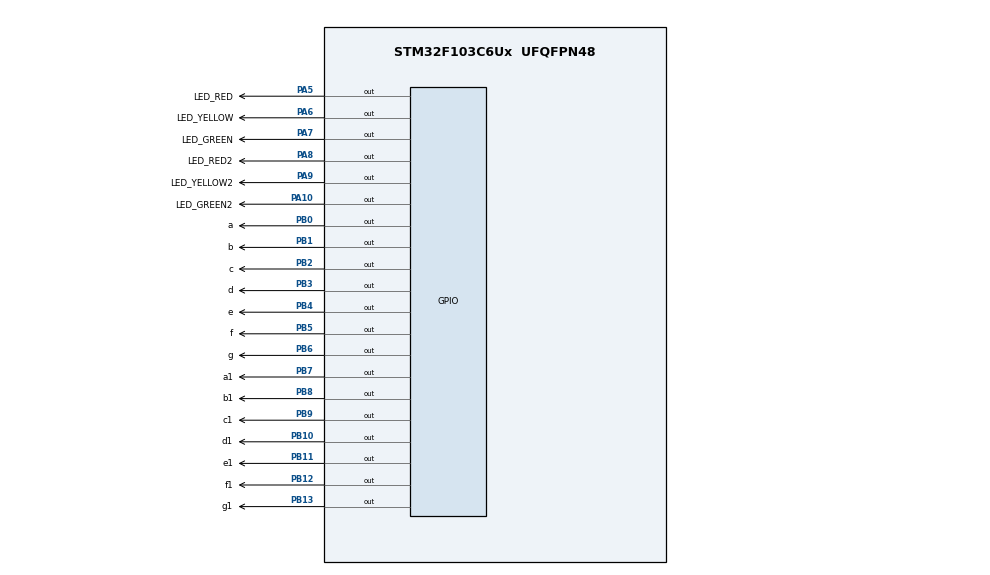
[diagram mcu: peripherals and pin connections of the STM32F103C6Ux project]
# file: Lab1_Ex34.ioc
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Mcu.Family=STM32F1
Mcu.Name=STM32F103C6Ux
Mcu.Package=UFQFPN48
NVIC.PriorityGroup=NVIC_PRIORITYGROUP_4
PA10.GPIO_Label=LED_GREEN2
PA10.Signal=GPIO_Output
PA5.GPIO_Label=LED_RED
PA5.Signal=GPIO_Output
PA6.GPIO_Label=LED_YELLOW
PA6.Signal=GPIO_Output
PA7.GPIO_Label=LED_GREEN
PA7.Signal=GPIO_Output
PA8.GPIO_Label=LED_RED2
PA8.Signal=GPIO_Output
PA9.GPIO_Label=LED_YELLOW2
PA9.Signal=GPIO_Output
PB0.GPIO_Label=a
PB0.Signal=GPIO_Output
PB1.GPIO_Label=b
PB1.Signal=GPIO_Output
PB10.GPIO_Label=d1
PB10.Signal=GPIO_Output
PB11.GPIO_Label=e1
PB11.Signal=GPIO_Output
PB12.GPIO_Label=f1
PB12.Signal=GPIO_Output
PB13.GPIO_Label=g1
PB13.Signal=GPIO_Output
PB2.GPIO_Label=c
PB2.Signal=GPIO_Output
PB3.GPIO_Label=d
PB3.Signal=GPIO_Output
PB4.GPIO_Label=e
PB4.Signal=GPIO_Output
PB5.GPIO_Label=f
PB5.Signal=GPIO_Output
PB6.GPIO_Label=g
PB6.Signal=GPIO_Output
PB7.GPIO_Label=a1
PB7.Signal=GPIO_Output
PB8.GPIO_Label=b1
PB8.Signal=GPIO_Output
PB9.GPIO_Label=c1
PB9.Signal=GPIO_Output
ProjectManager.HeapSize=0x200
ProjectManager.StackSize=0x400
ProjectManager.TargetToolchain=STM32CubeIDE
RCC.APB1Freq_Value=8000000
RCC.APB2Freq_Value=8000000
VP_SYS_VS_ND.Mode=No_Debug
board=custom

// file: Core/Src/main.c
/* USER CODE BEGIN Header */
/**
  ******************************************************************************
  * @file           : main.c
  * @brief          : Main program body
  ******************************************************************************
  * @attention
  *
  * <h2><center>&copy; Copyright (c) 2024 STMicroelectronics.
  * All rights reserved.</center></h2>
  *
  * This software component is licensed by ST under BSD 3-Clause license,
  * the "License"; You may not use this file except in compliance with the
  * License. You may obtain a copy of the License at:
  *                        opensource.org/licenses/BSD-3-Clause
  *
  ******************************************************************************
  */
/* USER CODE END Header */
#include "main.h"

void SystemClock_Config(void);
static void MX_GPIO_Init(void);
void display7SEG(int num);
void display7SEG1(int num);

int main(void)
{

  /* MCU Configuration--------------------------------------------------------*/

  /* Reset of all peripherals, Initializes the Flash interface and the Systick. */
  HAL_Init();

  /* Configure the system clock */
  SystemClock_Config();

  /* Initialize all configured peripherals */
  MX_GPIO_Init();

  /* Infinite loop */;
  /* USER CODE BEGIN WHILE */

  int counter = 10;
  while (1)
  {
		 counter --;
		 if (counter >=7 )
		 {
			 HAL_GPIO_WritePin ( LED_RED_GPIO_Port , LED_RED_Pin ,GPIO_PIN_RESET );
			 HAL_GPIO_WritePin ( LED_YELLOW_GPIO_Port , LED_YELLOW_Pin ,GPIO_PIN_SET );
			 HAL_GPIO_WritePin ( LED_GREEN_GPIO_Port , LED_GREEN_Pin ,GPIO_PIN_SET );

			 HAL_GPIO_WritePin ( LED_RED2_GPIO_Port , LED_RED2_Pin ,GPIO_PIN_SET );
			 HAL_GPIO_WritePin ( LED_YELLOW2_GPIO_Port , LED_YELLOW2_Pin ,GPIO_PIN_SET );
			 HAL_GPIO_WritePin ( LED_GREEN2_GPIO_Port , LED_GREEN2_Pin ,GPIO_PIN_RESET );
		 }
		 else if (counter >= 5)
		 {
			 HAL_GPIO_WritePin ( LED_RED_GPIO_Port , LED_RED_Pin ,GPIO_PIN_RESET );
			 HAL_GPIO_WritePin ( LED_YELLOW_GPIO_Port , LED_YELLOW_Pin ,GPIO_PIN_SET );
			 HAL_GPIO_WritePin ( LED_GREEN_GPIO_Port , LED_GREEN_Pin ,GPIO_PIN_SET );

			 HAL_GPIO_WritePin ( LED_RED2_GPIO_Port , LED_RED2_Pin ,GPIO_PIN_SET );
			 HAL_GPIO_WritePin ( LED_YELLOW2_GPIO_Port , LED_YELLOW2_Pin ,GPIO_PIN_RESET );
			 HAL_GPIO_WritePin ( LED_GREEN2_GPIO_Port , LED_GREEN2_Pin ,GPIO_PIN_SET );
		 }
		 else if (counter >= 2)
		 {
			 HAL_GPIO_WritePin ( LED_RED_GPIO_Port , LED_RED_Pin ,GPIO_PIN_SET );
			 HAL_GPIO_WritePin ( LED_YELLOW_GPIO_Port , LED_YELLOW_Pin ,GPIO_PIN_SET );
			 HAL_GPIO_WritePin ( LED_GREEN_GPIO_Port , LED_GREEN_Pin ,GPIO_PIN_RESET );

			 HAL_GPIO_WritePin ( LED_RED2_GPIO_Port , LED_RED2_Pin ,GPIO_PIN_RESET );
			 HAL_GPIO_WritePin ( LED_YELLOW2_GPIO_Port , LED_YELLOW2_Pin ,GPIO_PIN_SET );
			 HAL_GPIO_WritePin ( LED_GREEN2_GPIO_Port , LED_GREEN2_Pin ,GPIO_PIN_SET );
		 }
		 else if (counter >= 0)
		 {
		 		 HAL_GPIO_WritePin ( LED_RED_GPIO_Port , LED_RED_Pin ,GPIO_PIN_SET );
		 		 HAL_GPIO_WritePin ( LED_YELLOW_GPIO_Port , LED_YELLOW_Pin ,GPIO_PIN_RESET );
		 		 HAL_GPIO_WritePin ( LED_GREEN_GPIO_Port , LED_GREEN_Pin ,GPIO_PIN_SET );

		 		 HAL_GPIO_WritePin ( LED_RED2_GPIO_Port , LED_RED2_Pin ,GPIO_PIN_RESET );
		 		 HAL_GPIO_WritePin ( LED_YELLOW2_GPIO_Port , LED_YELLOW2_Pin ,GPIO_PIN_SET );
		 		 HAL_GPIO_WritePin ( LED_GREEN2_GPIO_Port , LED_GREEN2_Pin ,GPIO_PIN_SET );
		 }
		 if (counter <= 0)
		 {
			 counter = 10;
		 }
		 display7SEG(counter);
		 display7SEG1(counter);
		 HAL_Delay (1000) ;

	    /* USER CODE END WHILE */

	  }

    /* USER CODE END WHILE */

}

void display7SEG(int num)
{
	switch (num) {
		case 1:
	          HAL_GPIO_WritePin(a_GPIO_Port, a_Pin, GPIO_PIN_SET);
	          HAL_GPIO_WritePin(b_GPIO_Port, b_Pin, GPIO_PIN_RESET);
	          HAL_GPIO_WritePin(c_GPIO_Port, c_Pin, GPIO_PIN_RESET);
	          HAL_GPIO_WritePin(d_GPIO_Port, d_Pin, GPIO_PIN_SET);
	          HAL_GPIO_WritePin(e_GPIO_Port, e_Pin, GPIO_PIN_SET);
	          HAL_GPIO_WritePin(f_GPIO_Port, f_Pin, GPIO_PIN_SET);
	          HAL_GPIO_WritePin(g_GPIO_Port, g_Pin, GPIO_PIN_SET);
			break;
		case 2:
	          HAL_GPIO_WritePin(a_GPIO_Port, a_Pin, GPIO_PIN_SET);
	          HAL_GPIO_WritePin(b_GPIO_Port, b_Pin, GPIO_PIN_RESET);
	          HAL_GPIO_WritePin(c_GPIO_Port, c_Pin, GPIO_PIN_RESET);
	          HAL_GPIO_WritePin(d_GPIO_Port, d_Pin, GPIO_PIN_SET);
	          HAL_GPIO_WritePin(e_GPIO_Port, e_Pin, GPIO_PIN_SET);
	          HAL_GPIO_WritePin(f_GPIO_Port, f_Pin, GPIO_PIN_SET);
	          HAL_GPIO_WritePin(g_GPIO_Port, g_Pin, GPIO_PIN_SET);
			break;
		case 3:
	          HAL_GPIO_WritePin(a_GPIO_Port, a_Pin, GPIO_PIN_RESET);
	          HAL_GPIO_WritePin(b_GPIO_Port, b_Pin, GPIO_PIN_SET);
	          HAL_GPIO_WritePin(c_GPIO_Port, c_Pin, GPIO_PIN_RESET);
	          HAL_GPIO_WritePin(d_GPIO_Port, d_Pin, GPIO_PIN_RESET);
	          HAL_GPIO_WritePin(e_GPIO_Port, e_Pin, GPIO_PIN_RESET);
	          HAL_GPIO_WritePin(f_GPIO_Port, f_Pin, GPIO_PIN_RESET);
	          HAL_GPIO_WritePin(g_GPIO_Port, g_Pin, GPIO_PIN_RESET);
			break;
		case 4:
	          HAL_GPIO_WritePin(a_GPIO_Port, a_Pin, GPIO_PIN_SET);
	          HAL_GPIO_WritePin(b_GPIO_Port, b_Pin, GPIO_PIN_RESET);
	          HAL_GPIO_WritePin(c_GPIO_Port, c_Pin, GPIO_PIN_RESET);
	          HAL_GPIO_WritePin(d_GPIO_Port, d_Pin, GPIO_PIN_SET);
	          HAL_GPIO_WritePin(e_GPIO_Port, e_Pin, GPIO_PIN_SET);
	          HAL_GPIO_WritePin(f_GPIO_Port, f_Pin, GPIO_PIN_SET);
	          HAL_GPIO_WritePin(g_GPIO_Port, g_Pin, GPIO_PIN_SET);
			break;
		case 5:
	          HAL_GPIO_WritePin(a_GPIO_Port, a_Pin, GPIO_PIN_RESET);
	          HAL_GPIO_WritePin(b_GPIO_Port, b_Pin, GPIO_PIN_RESET);
	          HAL_GPIO_WritePin(c_GPIO_Port, c_Pin, GPIO_PIN_SET);
	          HAL_GPIO_WritePin(d_GPIO_Port, d_Pin, GPIO_PIN_RESET);
	          HAL_GPIO_WritePin(e_GPIO_Port, e_Pin, GPIO_PIN_RESET);
	          HAL_GPIO_WritePin(f_GPIO_Port, f_Pin, GPIO_PIN_SET);
	          HAL_GPIO_WritePin(g_GPIO_Port, g_Pin, GPIO_PIN_RESET);
			break;
		case 6:
	          HAL_GPIO_WritePin(a_GPIO_Port, a_Pin, GPIO_PIN_RESET);
	          HAL_GPIO_WritePin(b_GPIO_Port, b_Pin, GPIO_PIN_SET);
	          HAL_GPIO_WritePin(c_GPIO_Port, c_Pin, GPIO_PIN_RESET);
	          HAL_GPIO_WritePin(d_GPIO_Port, d_Pin, GPIO_PIN_RESET);
	          HAL_GPIO_WritePin(e_GPIO_Port, e_Pin, GPIO_PIN_RESET);
	          HAL_GPIO_WritePin(f_GPIO_Port, f_Pin, GPIO_PIN_RESET);
	          HAL_GPIO_WritePin(g_GPIO_Port, g_Pin, GPIO_PIN_RESET);
			break;
		case 7:
	          HAL_GPIO_WritePin(a_GPIO_Port, a_Pin, GPIO_PIN_SET);
	          HAL_GPIO_WritePin(b_GPIO_Port, b_Pin, GPIO_PIN_RESET);
	          HAL_GPIO_WritePin(c_GPIO_Port, c_Pin, GPIO_PIN_RESET);
	          HAL_GPIO_WritePin(d_GPIO_Port, d_Pin, GPIO_PIN_SET);
	          HAL_GPIO_WritePin(e_GPIO_Port, e_Pin, GPIO_PIN_SET);
	          HAL_GPIO_WritePin(f_GPIO_Port, f_Pin, GPIO_PIN_SET);
	          HAL_GPIO_WritePin(g_GPIO_Port, g_Pin, GPIO_PIN_SET);
			break;
		case 8:
	          HAL_GPIO_WritePin(a_GPIO_Port, a_Pin, GPIO_PIN_RESET);
	          HAL_GPIO_WritePin(b_GPIO_Port, b_Pin, GPIO_PIN_RESET);
	          HAL_GPIO_WritePin(c_GPIO_Port, c_Pin, GPIO_PIN_SET);
	          HAL_GPIO_WritePin(d_GPIO_Port, d_Pin, GPIO_PIN_RESET);
	          HAL_GPIO_WritePin(e_GPIO_Port, e_Pin, GPIO_PIN_RESET);
	          HAL_GPIO_WritePin(f_GPIO_Port, f_Pin, GPIO_PIN_SET);
	          HAL_GPIO_WritePin(g_GPIO_Port, g_Pin, GPIO_PIN_RESET);
			break;
		case 9:
	          HAL_GPIO_WritePin(a_GPIO_Port, a_Pin, GPIO_PIN_RESET);
	          HAL_GPIO_WritePin(b_GPIO_Port, b_Pin, GPIO_PIN_RESET);
	          HAL_GPIO_WritePin(c_GPIO_Port, c_Pin, GPIO_PIN_RESET);
	          HAL_GPIO_WritePin(d_GPIO_Port, d_Pin, GPIO_PIN_RESET);
	          HAL_GPIO_WritePin(e_GPIO_Port, e_Pin, GPIO_PIN_SET);
	          HAL_GPIO_WritePin(f_GPIO_Port, f_Pin, GPIO_PIN_SET);
	          HAL_GPIO_WritePin(g_GPIO_Port, g_Pin, GPIO_PIN_RESET);
			break;
		case 10:
	          HAL_GPIO_WritePin(a_GPIO_Port, a_Pin, GPIO_PIN_SET);
	          HAL_GPIO_WritePin(b_GPIO_Port, b_Pin, GPIO_PIN_RESET);
	          HAL_GPIO_WritePin(c_GPIO_Port, c_Pin, GPIO_PIN_RESET);
	          HAL_GPIO_WritePin(d_GPIO_Port, d_Pin, GPIO_PIN_SET);
	          HAL_GPIO_WritePin(e_GPIO_Port, e_Pin, GPIO_PIN_SET);
	          HAL_GPIO_WritePin(f_GPIO_Port, f_Pin, GPIO_PIN_RESET);
	          HAL_GPIO_WritePin(g_GPIO_Port, g_Pin, GPIO_PIN_RESET);
			break;
		default:
			break;
	}
}

void display7SEG1(int num)
{
	switch (num) {
		case 1:
	          HAL_GPIO_WritePin(a1_GPIO_Port, a1_Pin, GPIO_PIN_RESET);
	          HAL_GPIO_WritePin(b1_GPIO_Port, b1_Pin, GPIO_PIN_RESET);
	          HAL_GPIO_WritePin(c1_GPIO_Port, c1_Pin, GPIO_PIN_RESET);
	          HAL_GPIO_WritePin(d1_GPIO_Port, d1_Pin, GPIO_PIN_RESET);
	          HAL_GPIO_WritePin(e1_GPIO_Port, e1_Pin, GPIO_PIN_RESET);
	          HAL_GPIO_WritePin(f1_GPIO_Port, f1_Pin, GPIO_PIN_RESET);
	          HAL_GPIO_WritePin(g1_GPIO_Port, g1_Pin, GPIO_PIN_SET);
			break;
		case 2:
	          HAL_GPIO_WritePin(a1_GPIO_Port, a1_Pin, GPIO_PIN_SET);
	          HAL_GPIO_WritePin(b1_GPIO_Port, b1_Pin, GPIO_PIN_RESET);
	          HAL_GPIO_WritePin(c1_GPIO_Port, c1_Pin, GPIO_PIN_RESET);
	          HAL_GPIO_WritePin(d1_GPIO_Port, d1_Pin, GPIO_PIN_SET);
	          HAL_GPIO_WritePin(e1_GPIO_Port, e1_Pin, GPIO_PIN_SET);
	          HAL_GPIO_WritePin(f1_GPIO_Port, f1_Pin, GPIO_PIN_SET);
	          HAL_GPIO_WritePin(g1_GPIO_Port, g1_Pin, GPIO_PIN_SET);
			break;
		case 3:
	          HAL_GPIO_WritePin(a1_GPIO_Port, a1_Pin, GPIO_PIN_RESET);
	          HAL_GPIO_WritePin(b1_GPIO_Port, b1_Pin, GPIO_PIN_RESET);
	          HAL_GPIO_WritePin(c1_GPIO_Port, c1_Pin, GPIO_PIN_SET);
	          HAL_GPIO_WritePin(d1_GPIO_Port, d1_Pin, GPIO_PIN_RESET);
	          HAL_GPIO_WritePin(e1_GPIO_Port, e1_Pin, GPIO_PIN_RESET);
	          HAL_GPIO_WritePin(f1_GPIO_Port, f1_Pin, GPIO_PIN_SET);
	          HAL_GPIO_WritePin(g1_GPIO_Port, g1_Pin, GPIO_PIN_RESET);
			break;
		case 4:
	          HAL_GPIO_WritePin(a1_GPIO_Port, a1_Pin, GPIO_PIN_RESET);
	          HAL_GPIO_WritePin(b1_GPIO_Port, b1_Pin, GPIO_PIN_RESET);
	          HAL_GPIO_WritePin(c1_GPIO_Port, c1_Pin, GPIO_PIN_RESET);
	          HAL_GPIO_WritePin(d1_GPIO_Port, d1_Pin, GPIO_PIN_RESET);
	          HAL_GPIO_WritePin(e1_GPIO_Port, e1_Pin, GPIO_PIN_SET);
	          HAL_GPIO_WritePin(f1_GPIO_Port, f1_Pin, GPIO_PIN_SET);
	          HAL_GPIO_WritePin(g1_GPIO_Port, g1_Pin, GPIO_PIN_RESET);
			break;
		case 5:
	          HAL_GPIO_WritePin(a1_GPIO_Port, a1_Pin, GPIO_PIN_SET);
	          HAL_GPIO_WritePin(b1_GPIO_Port, b1_Pin, GPIO_PIN_RESET);
	          HAL_GPIO_WritePin(c1_GPIO_Port, c1_Pin, GPIO_PIN_RESET);
	          HAL_GPIO_WritePin(d1_GPIO_Port, d1_Pin, GPIO_PIN_SET);
	          HAL_GPIO_WritePin(e1_GPIO_Port, e1_Pin, GPIO_PIN_SET);
	          HAL_GPIO_WritePin(f1_GPIO_Port, f1_Pin, GPIO_PIN_RESET);
	          HAL_GPIO_WritePin(g1_GPIO_Port, g1_Pin, GPIO_PIN_RESET);
			break;
		case 6:
	          HAL_GPIO_WritePin(a1_GPIO_Port, a1_Pin, GPIO_PIN_RESET);
	          HAL_GPIO_WritePin(b1_GPIO_Port, b1_Pin, GPIO_PIN_RESET);
	          HAL_GPIO_WritePin(c1_GPIO_Port, c1_Pin, GPIO_PIN_RESET);
	          HAL_GPIO_WritePin(d1_GPIO_Port, d1_Pin, GPIO_PIN_RESET);
	          HAL_GPIO_WritePin(e1_GPIO_Port, e1_Pin, GPIO_PIN_RESET);
	          HAL_GPIO_WritePin(f1_GPIO_Port, f1_Pin, GPIO_PIN_RESET);
	          HAL_GPIO_WritePin(g1_GPIO_Port, g1_Pin, GPIO_PIN_SET);
			break;
		case 7:
	          HAL_GPIO_WritePin(a1_GPIO_Port, a1_Pin, GPIO_PIN_RESET);
	          HAL_GPIO_WritePin(a1_GPIO_Port, a1_Pin, GPIO_PIN_SET);
	          HAL_GPIO_WritePin(b1_GPIO_Port, b1_Pin, GPIO_PIN_RESET);
	          HAL_GPIO_WritePin(c1_GPIO_Port, c1_Pin, GPIO_PIN_RESET);
	          HAL_GPIO_WritePin(d1_GPIO_Port, d1_Pin, GPIO_PIN_SET);
	          HAL_GPIO_WritePin(e1_GPIO_Port, e1_Pin, GPIO_PIN_SET);
	          HAL_GPIO_WritePin(f1_GPIO_Port, f1_Pin, GPIO_PIN_SET);
	          HAL_GPIO_WritePin(g1_GPIO_Port, g1_Pin, GPIO_PIN_SET);
			break;
		case 8:
	          HAL_GPIO_WritePin(a1_GPIO_Port, a1_Pin, GPIO_PIN_RESET);
	          HAL_GPIO_WritePin(b1_GPIO_Port, b1_Pin, GPIO_PIN_RESET);
	          HAL_GPIO_WritePin(c1_GPIO_Port, c1_Pin, GPIO_PIN_RESET);
	          HAL_GPIO_WritePin(d1_GPIO_Port, d1_Pin, GPIO_PIN_RESET);
	          HAL_GPIO_WritePin(e1_GPIO_Port, e1_Pin, GPIO_PIN_RESET);
	          HAL_GPIO_WritePin(f1_GPIO_Port, f1_Pin, GPIO_PIN_RESET);
	          HAL_GPIO_WritePin(g1_GPIO_Port, g1_Pin, GPIO_PIN_SET);
			break;
		case 9:
	          HAL_GPIO_WritePin(a1_GPIO_Port, a1_Pin, GPIO_PIN_SET);
	          HAL_GPIO_WritePin(b1_GPIO_Port, b1_Pin, GPIO_PIN_RESET);
	          HAL_GPIO_WritePin(c1_GPIO_Port, c1_Pin, GPIO_PIN_RESET);
	          HAL_GPIO_WritePin(d1_GPIO_Port, d1_Pin, GPIO_PIN_SET);
	          HAL_GPIO_WritePin(e1_GPIO_Port, e1_Pin, GPIO_PIN_SET);
	          HAL_GPIO_WritePin(f1_GPIO_Port, f1_Pin, GPIO_PIN_SET);
	          HAL_GPIO_WritePin(g1_GPIO_Port, g1_Pin, GPIO_PIN_SET);
			break;
		case 10:
	          HAL_GPIO_WritePin(a1_GPIO_Port, a1_Pin, GPIO_PIN_RESET);
	          HAL_GPIO_WritePin(b1_GPIO_Port, b1_Pin, GPIO_PIN_RESET);
	          HAL_GPIO_WritePin(c1_GPIO_Port, c1_Pin, GPIO_PIN_SET);
	          HAL_GPIO_WritePin(d1_GPIO_Port, d1_Pin, GPIO_PIN_RESET);
	          HAL_GPIO_WritePin(e1_GPIO_Port, e1_Pin, GPIO_PIN_RESET);
	          HAL_GPIO_WritePin(f1_GPIO_Port, f1_Pin, GPIO_PIN_SET);
	          HAL_GPIO_WritePin(g1_GPIO_Port, g1_Pin, GPIO_PIN_RESET);
			break;
		default:
			break;
	}
}

void SystemClock_Config(void)
{
  RCC_OscInitTypeDef RCC_OscInitStruct = {0};
  RCC_ClkInitTypeDef RCC_ClkInitStruct = {0};

  /** Initializes the RCC Oscillators according to the specified parameters
  * in the RCC_OscInitTypeDef structure.
  */
  RCC_OscInitStruct.OscillatorType = RCC_OSCILLATORTYPE_HSI;
  RCC_OscInitStruct.HSIState = RCC_HSI_ON;
  RCC_OscInitStruct.HSICalibrationValue = RCC_HSICALIBRATION_DEFAULT;
  RCC_OscInitStruct.PLL.PLLState = RCC_PLL_NONE;
  if (HAL_RCC_OscConfig(&RCC_OscInitStruct) != HAL_OK)
  {
    Error_Handler();
  }
  /** Initializes the CPU, AHB and APB buses clocks
  */
  RCC_ClkInitStruct.ClockType = RCC_CLOCKTYPE_HCLK|RCC_CLOCKTYPE_SYSCLK
                              |RCC_CLOCKTYPE_PCLK1|RCC_CLOCKTYPE_PCLK2;
  RCC_ClkInitStruct.SYSCLKSource = RCC_SYSCLKSOURCE_HSI;
  RCC_ClkInitStruct.AHBCLKDivider = RCC_SYSCLK_DIV1;
  RCC_ClkInitStruct.APB1CLKDivider = RCC_HCLK_DIV1;
  RCC_ClkInitStruct.APB2CLKDivider = RCC_HCLK_DIV1;

  if (HAL_RCC_ClockConfig(&RCC_ClkInitStruct, FLASH_LATENCY_0) != HAL_OK)
  {
    Error_Handler();
  }
}

static void MX_GPIO_Init(void)
{
  GPIO_InitTypeDef GPIO_InitStruct = {0};

  /* GPIO Ports Clock Enable */
  __HAL_RCC_GPIOA_CLK_ENABLE();
  __HAL_RCC_GPIOB_CLK_ENABLE();

  /*Configure GPIO pin Output Level */
  HAL_GPIO_WritePin(GPIOA, LED_RED_Pin|LED_YELLOW_Pin|LED_GREEN_Pin|LED_RED2_Pin
                          |LED_YELLOW2_Pin|LED_GREEN2_Pin, GPIO_PIN_RESET);

  /*Configure GPIO pin Output Level */
  HAL_GPIO_WritePin(GPIOB, a_Pin|b_Pin|c_Pin|d1_Pin
                          |e1_Pin|f1_Pin|g1_Pin|d_Pin
                          |e_Pin|f_Pin|g_Pin|a1_Pin
                          |b1_Pin|c1_Pin, GPIO_PIN_RESET);

  /*Configure GPIO pins : LED_RED_Pin LED_YELLOW_Pin LED_GREEN_Pin LED_RED2_Pin
                           LED_YELLOW2_Pin LED_GREEN2_Pin */
  GPIO_InitStruct.Pin = LED_RED_Pin|LED_YELLOW_Pin|LED_GREEN_Pin|LED_RED2_Pin
                          |LED_YELLOW2_Pin|LED_GREEN2_Pin;
  GPIO_InitStruct.Mode = GPIO_MODE_OUTPUT_PP;
  GPIO_InitStruct.Pull = GPIO_NOPULL;
  GPIO_InitStruct.Speed = GPIO_SPEED_FREQ_LOW;
  HAL_GPIO_Init(GPIOA, &GPIO_InitStruct);

  /*Configure GPIO pins : a_Pin b_Pin c_Pin d1_Pin
                           e1_Pin f1_Pin g1_Pin d_Pin
                           e_Pin f_Pin g_Pin a1_Pin
                           b1_Pin c1_Pin */
  GPIO_InitStruct.Pin = a_Pin|b_Pin|c_Pin|d1_Pin
                          |e1_Pin|f1_Pin|g1_Pin|d_Pin
                          |e_Pin|f_Pin|g_Pin|a1_Pin
                          |b1_Pin|c1_Pin;
  GPIO_InitStruct.Mode = GPIO_MODE_OUTPUT_PP;
  GPIO_InitStruct.Pull = GPIO_NOPULL;
  GPIO_InitStruct.Speed = GPIO_SPEED_FREQ_LOW;
  HAL_GPIO_Init(GPIOB, &GPIO_InitStruct);

}

void Error_Handler(void)
{
  __disable_irq();
  while (1)
  {
  }
}

/************************ (C) COPYRIGHT STMicroelectronics *****END OF FILE****/
